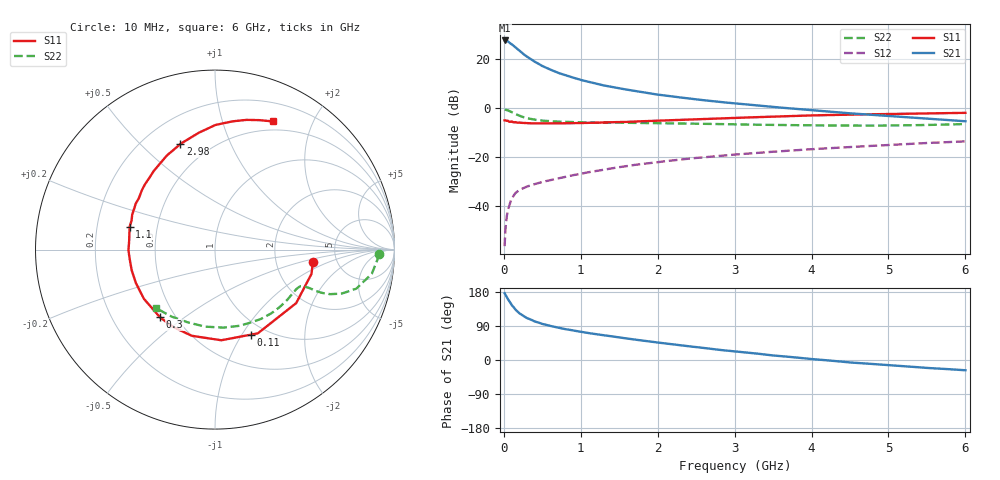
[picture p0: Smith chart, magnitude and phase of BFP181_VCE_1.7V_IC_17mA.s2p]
! Infineon Technologies  Discrete & RF Semiconductors
! BFP181
! VCE = 1.7 V,  IC =  17 mA
! Common Emitter S-Parameters:  Jan 2016
# GHz  S  MA  R  50
!  f  S11  S21  S12  S22
! GHz  MAG  ANG  MAG  ANG  MAG  ANG  MAG  ANG
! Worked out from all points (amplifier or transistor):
!   210 points, 10 MHz to 6 GHz, reference 50 ohm
!   highest |S21| = 27.4 dB at 10 MHz (marker M1)
!   |S21| within 3 dB of that: start of sweep to 159.1 MHz
!   unconditionally stable (mu >= 1): start of sweep to 17.54 MHz; 397.1 MHz to end of sweep
!   at 185 MHz: K = 0.60, MSG = 28.8 dB, |S12| = -34.0 dB
!   at 1.52 GHz: K = 1.68, MAG = 11.1 dB, |S12| = -24.2 dB
!   at 6 GHz: K = 1.30, MAG = 0.8 dB, |S12| = -13.7 dB
!   S11 on the Smith chart (normalised r, x): 10 MHz: 3.31, -0.64; 110 MHz: 0.85, -1.09; 300 MHz: 0.41, -0.41; 1.1 GHz: 0.34, +0.12; 2.98 GHz: 0.35, +0.66; 6 GHz: 0.40, +1.47
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0.01  0.5497 -7.0  23.42 176.2  0.0015 73.8  0.9116 -1.5
0.02  0.5544 -14.1  23.33 172.7  0.0032 78.8  0.9076 -3.4
0.05  0.5417 -33.4  22.52 161.4  0.0078 78.3  0.8842 -8.7
0.1  0.5241 -62.9  19.78 145.6  0.0138 64.1  0.8173 -15.4
0.11  0.514 -67.3  19.17 143.4  0.0146 62.4  0.8024 -16.1
0.15  0.5063 -86.0  17.05 133.0  0.0181 57.2  0.7442 -19.3
0.2  0.4972 -105.0  14.64 123.6  0.0208 52.0  0.6864 -21.2
0.24  0.4899 -115.8  12.93 117.9  0.0223 50.0  0.6503 -21.9
0.26  0.4884 -120.7  12.21 115.2  0.0231 49.4  0.6348 -22.1
0.3  0.4857 -129.4  10.98 110.7  0.0246 48.8  0.609 -22.3
0.4  0.4817 -145.3  8.666 101.8  0.0276 48.0  0.5683 -22.2
0.5  0.4785 -156.9  7.059 95.2  0.0305 48.1  0.5437 -22.3
0.7  0.4781 -173.4  5.151 85.4  0.036 51.3  0.5191 -23.1
1.02  0.4861 168.7  3.61 73.8  0.0454 53.5  0.5029 -26.2
1.1  0.4928 165.0  3.359 71.0  0.0484 53.8  0.5008 -27.2
1.5  0.5106 150.0  2.47 59.3  0.0612 54.8  0.4922 -32.8
2.02  0.5415 132.6  1.827 45.6  0.0783 53.2  0.4822 -41.5
2.98  0.6186 108.2  1.233 23.1  0.1097 47.7  0.4574 -60.2
3.1  0.6263 105.7  1.184 20.8  0.1135 46.8  0.4534 -62.8
4.1  0.6987 88.2  0.862 0.9  0.1452 39.2  0.4343 -86.7
5.1  0.7471 75.3  0.658 -15.0  0.1763 31.2  0.4334 -112.9
6  0.7834 65.7  0.528 -27.1  0.2055 23.1  0.4637 -135.5
